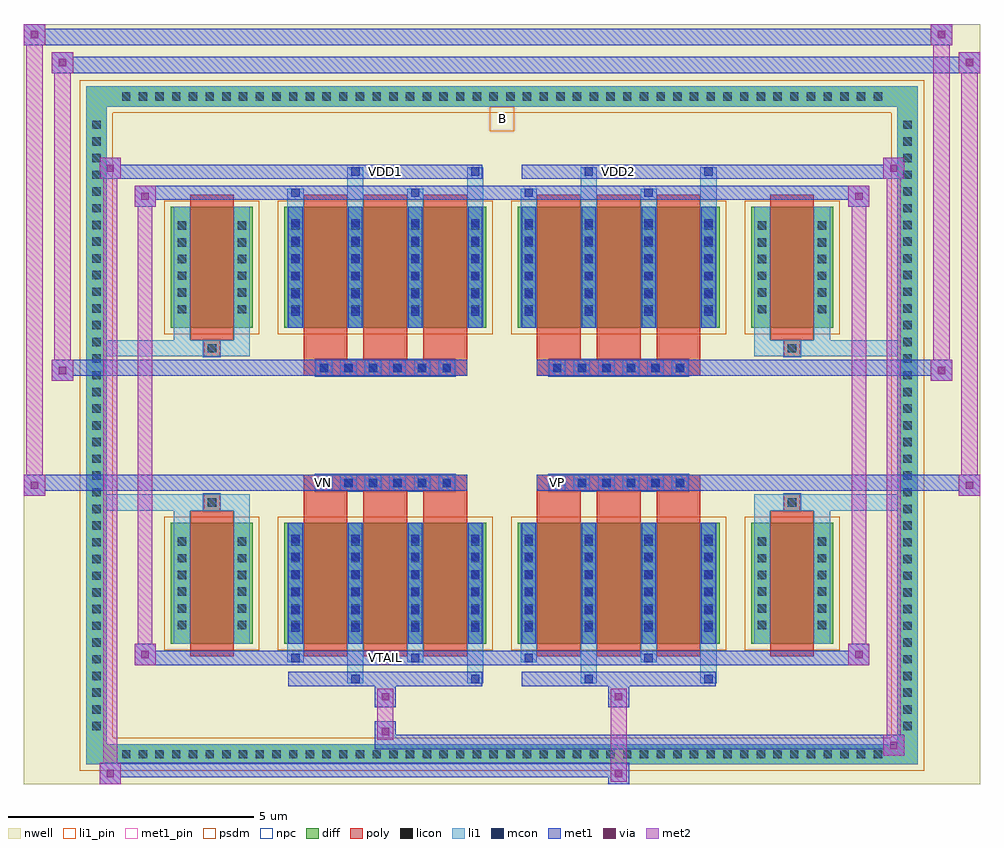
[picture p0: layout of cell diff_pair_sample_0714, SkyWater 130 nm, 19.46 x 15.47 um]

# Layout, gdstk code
import gdstk
lib = gdstk.Library(unit=1e-6, precision=5e-09)
def R(c, l, rs):  # rectangles x0, y0, x1, y1
    for r in rs: c.add(gdstk.rectangle(r[:2], r[2:], *l))
def A(c, l, x, y, w, h, nx, ny, dx, dy):  # array of equal rectangles
    R(c, l, [(x+i*dx, y+j*dy, x+i*dx+w, y+j*dy+h) for i in range(nx) for j in range(ny)])
def P(c, l, *ps):  # polygons
    for p in ps: c.add(gdstk.Polygon(p, *l))
nwell = (64, 20)
diff = (65, 20)
poly = (66, 20)
licon = (66, 44)
li1_pin = (67, 16)
li1 = (67, 20)
mcon = (67, 44)
met1_pin = (68, 16)
met1 = (68, 20)
via = (68, 44)
met2 = (69, 20)
psdm = (94, 20)
npc = (95, 20)

diff_pair_sample_0714 = lib.new_cell('diff_pair_sample_0714')
R(diff_pair_sample_0714, nwell, [(-9.73,-7.3,9.73,8.17), (-7.05,-5.49,-0.01,-0.805), (0.01,-5.49,7.05,-0.805), (-7.05,0.805,-0.01,5.49), (0.01,0.805,7.05,5.49)])
A(diff_pair_sample_0714, diff, -7.855, -6.9, 0.41, 0.41, 46, 2, 0.34, 13.39)
A(diff_pair_sample_0714, diff, -8.46, -6.325, 0.41, 0.41, 1, 37, 0, 0.34)
A(diff_pair_sample_0714, diff, 8.05, -6.325, 0.41, 0.41, 1, 37, 0, 0.34)
R(diff_pair_sample_0714, diff, [(-7.855,-6.9,7.855,-6.49), (-8.46,-6.325,-8.05,6.325), (8.05,-6.325,8.46,6.325), (-6.74,-4.445,-5.07,-1.985), (-4.43,-4.445,-0.32,-1.985), (0.32,-4.445,4.43,-1.985), (5.07,-4.445,6.74,-1.985), (-6.74,1.985,-5.07,4.445), (-4.43,1.985,-0.32,4.445), (0.32,1.985,4.43,4.445), (5.07,1.985,6.74,4.445), (-7.855,6.49,7.855,6.9)])
P(diff_pair_sample_0714, diff, [(8.46,6.9),(-8.46,6.9),(-8.46,-6.49),(-8.05,-6.49),(-8.05,6.49),(8.05,6.49),(8.05,-6.49),(-8.05,-6.49),(-8.46,-6.49),(-8.46,-6.9),(8.46,-6.9)])
A(diff_pair_sample_0714, poly, -4.04, -4.695, 0.89, 2.96, 3, 2, 1.22, 6.43)
A(diff_pair_sample_0714, poly, 0.71, -4.695, 0.89, 2.96, 3, 2, 1.22, 6.43)
A(diff_pair_sample_0714, poly, -4.04, -1.735, 0.89, 0.4, 3, 2, 1.22, 3.07)
A(diff_pair_sample_0714, poly, 0.71, -1.735, 0.89, 0.4, 3, 2, 1.22, 3.07)
A(diff_pair_sample_0714, poly, -3.79, -1.335, 0.33, 0.33, 6, 2, 0.5, 2.34)
A(diff_pair_sample_0714, poly, 0.96, -1.335, 0.33, 0.33, 6, 2, 0.5, 2.34)
R(diff_pair_sample_0714, poly, [(-6.35,-4.695,-5.46,-1.735), (5.46,-4.695,6.35,-1.735), (-6.07,-1.735,-5.74,-1.405), (-6.07,-1.735,-5.74,-1.405), (5.74,-1.735,6.07,-1.405), (5.74,-1.735,6.07,-1.405), (-4.04,-1.335,-0.71,-1.005), (0.71,-1.335,4.04,-1.005), (-4.04,1.005,-0.71,1.335), (0.71,1.005,4.04,1.335), (-6.07,1.405,-5.74,1.735), (-6.07,1.405,-5.74,1.735), (5.74,1.405,6.07,1.735), (5.74,1.405,6.07,1.735), (-6.35,1.735,-5.46,4.695), (5.46,1.735,6.35,4.695)])
A(diff_pair_sample_0714, licon, -7.735, -6.78, 0.17, 0.17, 46, 2, 0.34, 13.39)
A(diff_pair_sample_0714, licon, -8.34, -6.205, 0.17, 0.17, 1, 37, 0, 0.34)
A(diff_pair_sample_0714, licon, 8.17, -6.205, 0.17, 0.17, 1, 37, 0, 0.34)
A(diff_pair_sample_0714, licon, -6.6, -4.15, 0.17, 0.17, 1, 6, 0, 0.34)
A(diff_pair_sample_0714, licon, -5.38, -4.15, 0.17, 0.17, 1, 6, 0, 0.34)
A(diff_pair_sample_0714, licon, -4.29, -4.15, 0.17, 0.17, 4, 6, 1.22, 0.34)
A(diff_pair_sample_0714, licon, 0.46, -4.15, 0.17, 0.17, 4, 6, 1.22, 0.34)
A(diff_pair_sample_0714, licon, 5.21, -4.15, 0.17, 0.17, 1, 6, 0, 0.34)
A(diff_pair_sample_0714, licon, 6.43, -4.15, 0.17, 0.17, 1, 6, 0, 0.34)
A(diff_pair_sample_0714, licon, -3.71, -1.255, 0.17, 0.17, 6, 2, 0.5, 2.34)
A(diff_pair_sample_0714, licon, 1.04, -1.255, 0.17, 0.17, 6, 2, 0.5, 2.34)
A(diff_pair_sample_0714, licon, -6.6, 2.28, 0.17, 0.17, 1, 6, 0, 0.34)
A(diff_pair_sample_0714, licon, -5.38, 2.28, 0.17, 0.17, 1, 6, 0, 0.34)
A(diff_pair_sample_0714, licon, -4.29, 2.28, 0.17, 0.17, 4, 6, 1.22, 0.34)
A(diff_pair_sample_0714, licon, 0.46, 2.28, 0.17, 0.17, 4, 6, 1.22, 0.34)
A(diff_pair_sample_0714, licon, 5.21, 2.28, 0.17, 0.17, 1, 6, 0, 0.34)
A(diff_pair_sample_0714, licon, 6.43, 2.28, 0.17, 0.17, 1, 6, 0, 0.34)
R(diff_pair_sample_0714, licon, [(-5.99,-1.655,-5.82,-1.485), (5.82,-1.655,5.99,-1.485), (-5.99,1.485,-5.82,1.655), (5.82,1.485,5.99,1.655)])
R(diff_pair_sample_0714, li1_pin, [(-0.25,5.99,0.25,6.49)])
A(diff_pair_sample_0714, li1, -7.815, -6.86, 0.33, 0.33, 46, 2, 0.34, 13.39)
A(diff_pair_sample_0714, li1, -8.42, -6.285, 0.33, 0.33, 1, 37, 0, 0.34)
A(diff_pair_sample_0714, li1, 8.09, -6.285, 0.33, 0.33, 1, 37, 0, 0.34)
A(diff_pair_sample_0714, li1, -4.37, -4.445, 0.33, 2.46, 4, 2, 1.22, 6.43)
A(diff_pair_sample_0714, li1, 0.38, -4.445, 0.33, 2.46, 4, 2, 1.22, 6.43)
A(diff_pair_sample_0714, li1, -6.68, -4.23, 0.33, 0.33, 1, 6, 0, 0.34)
A(diff_pair_sample_0714, li1, -5.46, -4.23, 0.33, 0.33, 1, 6, 0, 0.34)
A(diff_pair_sample_0714, li1, -4.37, -4.23, 0.33, 0.33, 4, 6, 1.22, 0.34)
A(diff_pair_sample_0714, li1, 0.38, -4.23, 0.33, 0.33, 4, 6, 1.22, 0.34)
A(diff_pair_sample_0714, li1, 5.13, -4.23, 0.33, 0.33, 1, 6, 0, 0.34)
A(diff_pair_sample_0714, li1, 6.35, -4.23, 0.33, 0.33, 1, 6, 0, 0.34)
A(diff_pair_sample_0714, li1, -4.29, -4.2, 0.17, 0.17, 4, 6, 1.22, 0.36)
A(diff_pair_sample_0714, li1, -4.29, -4.2, 0.17, 1.97, 4, 2, 1.22, 6.43)
A(diff_pair_sample_0714, li1, 0.46, -4.2, 0.17, 0.17, 4, 6, 1.22, 0.36)
A(diff_pair_sample_0714, li1, 0.46, -4.2, 0.17, 1.97, 4, 2, 1.22, 6.43)
A(diff_pair_sample_0714, li1, -3.79, -1.335, 0.33, 0.33, 6, 2, 0.5, 2.34)
A(diff_pair_sample_0714, li1, 0.96, -1.335, 0.33, 0.33, 6, 2, 0.5, 2.34)
A(diff_pair_sample_0714, li1, -6.68, 2.2, 0.33, 0.33, 1, 6, 0, 0.34)
A(diff_pair_sample_0714, li1, -5.46, 2.2, 0.33, 0.33, 1, 6, 0, 0.34)
A(diff_pair_sample_0714, li1, -4.37, 2.2, 0.33, 0.33, 4, 6, 1.22, 0.34)
A(diff_pair_sample_0714, li1, 0.38, 2.2, 0.33, 0.33, 4, 6, 1.22, 0.34)
A(diff_pair_sample_0714, li1, 5.13, 2.2, 0.33, 0.33, 1, 6, 0, 0.34)
A(diff_pair_sample_0714, li1, 6.35, 2.2, 0.33, 0.33, 1, 6, 0, 0.34)
A(diff_pair_sample_0714, li1, -4.29, 2.23, 0.17, 0.17, 4, 6, 1.22, 0.36)
A(diff_pair_sample_0714, li1, 0.46, 2.23, 0.17, 0.17, 4, 6, 1.22, 0.36)
R(diff_pair_sample_0714, li1, [(-8.46,-6.9,-8.05,-6.49), (-8.46,-6.9,-8.05,-6.49), (-8.05,-6.9,8.05,-6.49), (8.05,-6.9,8.46,-6.49), (8.05,-6.9,8.46,-6.49), (-8.46,-6.49,-8.05,6.49), (8.05,-6.49,8.46,6.49), (-3.15,-5.25,-2.82,-4.445), (-3.07,-5.25,-2.9,-5.08), (-0.71,-5.25,-0.38,-4.445), (-0.63,-5.25,-0.46,-5.08), (1.6,-5.25,1.93,-4.445), (1.68,-5.25,1.85,-5.08), (4.04,-5.25,4.37,-4.445), (4.12,-5.25,4.29,-5.08), (-4.37,-4.82,-4.04,-4.445), (-4.29,-4.82,-4.12,-4.65), (-1.93,-4.82,-1.6,-4.445), (-1.85,-4.82,-1.68,-4.65), (0.38,-4.82,0.71,-4.445), (0.46,-4.82,0.63,-4.65), (2.82,-4.82,3.15,-4.445), (2.9,-4.82,3.07,-4.65), (-6.68,-4.445,-6.35,-1.985), (-5.46,-4.445,-5.13,-1.985), (5.13,-4.445,5.46,-1.985), (6.35,-4.445,6.68,-1.985), (-6.68,-1.985,-6.35,-1.405), (-5.46,-1.985,-5.13,-1.405), (5.13,-1.985,5.46,-1.405), (6.35,-1.985,6.68,-1.405), (-8.46,-1.735,-6.07,-1.405), (-6.68,-1.735,-6.07,-1.405), (-6.07,-1.735,-5.74,-1.405), (-5.74,-1.735,-5.13,-1.405), (5.13,-1.735,5.74,-1.405), (5.74,-1.735,6.07,-1.405), (5.74,-1.735,8.46,-1.405), (6.07,-1.735,6.68,-1.405), (-8.46,1.405,-6.07,1.735), (-6.68,1.405,-6.07,1.735), (-6.68,1.405,-6.35,1.985), (-6.07,1.405,-5.74,1.735), (-5.74,1.405,-5.13,1.735), (-5.46,1.405,-5.13,1.985), (5.13,1.405,5.74,1.735), (5.13,1.405,5.46,1.985), (5.74,1.405,6.07,1.735), (5.74,1.405,8.46,1.735), (6.07,1.405,6.68,1.735), (6.35,1.405,6.68,1.985), (-6.68,1.985,-6.35,4.445), (-5.46,1.985,-5.13,4.445), (5.13,1.985,5.46,4.445), (6.35,1.985,6.68,4.445), (-4.37,4.445,-4.04,4.82), (-3.15,4.445,-2.82,5.25), (-1.93,4.445,-1.6,4.82), (-0.71,4.445,-0.38,5.25), (0.38,4.445,0.71,4.82), (1.6,4.445,1.93,5.25), (2.82,4.445,3.15,4.82), (4.04,4.445,4.37,5.25), (-4.29,4.65,-4.12,4.82), (-1.85,4.65,-1.68,4.82), (0.46,4.65,0.63,4.82), (2.9,4.65,3.07,4.82), (-3.07,5.08,-2.9,5.25), (-0.63,5.08,-0.46,5.25), (1.68,5.08,1.85,5.25), (4.12,5.08,4.29,5.25), (-8.46,6.49,-8.05,6.9), (-8.46,6.49,-8.05,6.9), (-8.05,6.49,8.05,6.9), (8.05,6.49,8.46,6.9), (8.05,6.49,8.46,6.9)])
A(diff_pair_sample_0714, mcon, -4.29, -4.2, 0.17, 0.17, 4, 6, 1.22, 0.36)
A(diff_pair_sample_0714, mcon, 0.46, -4.2, 0.17, 0.17, 4, 6, 1.22, 0.36)
A(diff_pair_sample_0714, mcon, -3.71, -1.255, 0.17, 0.17, 6, 2, 0.5, 2.34)
A(diff_pair_sample_0714, mcon, 1.04, -1.255, 0.17, 0.17, 6, 2, 0.5, 2.34)
A(diff_pair_sample_0714, mcon, -4.29, 2.23, 0.17, 0.17, 4, 6, 1.22, 0.36)
A(diff_pair_sample_0714, mcon, 0.46, 2.23, 0.17, 0.17, 4, 6, 1.22, 0.36)
R(diff_pair_sample_0714, mcon, [(-3.07,-5.25,-2.9,-5.08), (-0.63,-5.25,-0.46,-5.08), (1.68,-5.25,1.85,-5.08), (4.12,-5.25,4.29,-5.08), (-4.29,-4.82,-4.12,-4.65), (-1.85,-4.82,-1.68,-4.65), (0.46,-4.82,0.63,-4.65), (2.9,-4.82,3.07,-4.65), (-4.29,4.65,-4.12,4.82), (-1.85,4.65,-1.68,4.82), (0.46,4.65,0.63,4.82), (2.9,4.65,3.07,4.82), (-3.07,5.08,-2.9,5.25), (-0.63,5.08,-0.46,5.25), (1.68,5.08,1.85,5.25), (4.12,5.08,4.29,5.25)])
R(diff_pair_sample_0714, met1_pin, [(-2.51,-4.86,-2.24,-4.59), (-3.76,-1.295,-3.49,-1.025), (0.99,-1.295,1.26,-1.025), (-2.51,5.04,-2.24,5.31), (2.24,5.04,2.51,5.31)])
A(diff_pair_sample_0714, met1, -4.35, -4.445, 0.29, 2.46, 4, 2, 1.22, 6.43)
A(diff_pair_sample_0714, met1, 0.4, -4.445, 0.29, 2.46, 4, 2, 1.22, 6.43)
A(diff_pair_sample_0714, met1, -4.35, -4.26, 0.29, 0.29, 4, 6, 1.22, 0.36)
A(diff_pair_sample_0714, met1, 0.4, -4.26, 0.29, 0.29, 4, 6, 1.22, 0.36)
A(diff_pair_sample_0714, met1, -3.77, -1.315, 0.29, 0.29, 6, 2, 0.5, 2.34)
A(diff_pair_sample_0714, met1, 0.98, -1.315, 0.29, 0.29, 6, 2, 0.5, 2.34)
A(diff_pair_sample_0714, met1, -4.35, 2.17, 0.29, 0.29, 4, 6, 1.22, 0.36)
A(diff_pair_sample_0714, met1, 0.4, 2.17, 0.29, 0.29, 4, 6, 1.22, 0.36)
R(diff_pair_sample_0714, met1, [(-8.19,-7.3,-7.76,-6.87), (2.16,-7.3,2.59,-6.87), (-8.19,-7.16,2.59,-6.87), (7.76,-6.73,8.19,-6.3), (-2.59,-6.59,8.19,-6.3), (-2.59,-6.45,-2.16,-6.02), (-2.59,-5.74,-2.16,-5.31), (2.16,-5.74,2.59,-5.31), (-4.35,-5.31,-0.4,-5.02), (-3.13,-5.31,-2.84,-5.02), (-0.69,-5.31,-0.4,-5.02), (0.4,-5.31,4.35,-5.02), (1.62,-5.31,1.91,-5.02), (4.06,-5.31,4.35,-5.02), (-7.48,-4.88,-7.05,-4.45), (-7.48,-4.88,-4.35,-4.59), (-4.35,-4.88,-4.06,-4.59), (-4.35,-4.88,-0.4,-4.59), (-1.91,-4.88,-1.62,-4.59), (-0.4,-4.88,0.4,-4.59), (0.4,-4.88,0.69,-4.59), (0.4,-4.88,4.35,-4.59), (2.84,-4.88,3.13,-4.59), (4.35,-4.88,7.48,-4.59), (7.05,-4.88,7.48,-4.45), (-9.73,-1.435,-9.3,-1.005), (9.3,-1.435,9.73,-1.005), (-9.73,-1.335,-0.71,-1.005), (-4.04,-1.335,-0.71,-1.005), (0.71,-1.335,4.04,-1.005), (0.71,-1.335,9.73,-1.005), (-9.16,0.905,-8.73,1.335), (8.73,0.905,9.16,1.335), (-9.16,1.005,-4.04,1.335), (-4.04,1.005,-0.71,1.335), (0.71,1.005,4.04,1.335), (4.04,1.005,9.16,1.335), (-7.48,4.45,-7.05,4.88), (7.05,4.45,7.48,4.88), (-7.48,4.59,-4.35,4.88), (-4.35,4.59,-4.06,4.88), (-4.35,4.59,-0.4,4.88), (-1.91,4.59,-1.62,4.88), (-0.4,4.59,0.4,4.88), (0.4,4.59,0.69,4.88), (0.4,4.59,4.35,4.88), (2.84,4.59,3.13,4.88), (4.35,4.59,7.48,4.88), (-8.19,5.02,-7.76,5.45), (-8.19,5.02,-4.35,5.31), (-4.35,5.02,-0.4,5.31), (-3.13,5.02,-2.84,5.31), (-0.69,5.02,-0.4,5.31), (0.4,5.02,4.35,5.31), (1.62,5.02,1.91,5.31), (4.06,5.02,4.35,5.31), (4.35,5.02,8.19,5.31), (7.76,5.02,8.19,5.45), (-9.16,7.17,-8.73,7.6), (-9.16,7.17,-7.05,7.5), (-7.05,7.17,7.05,7.5), (7.05,7.17,9.73,7.5), (9.3,7.17,9.73,7.6), (-9.73,7.74,-9.3,8.17), (-9.73,7.74,-7.05,8.07), (-7.05,7.74,7.05,8.07), (7.05,7.74,9.16,8.07), (8.73,7.74,9.16,8.17)])
R(diff_pair_sample_0714, via, [(-8.05,-7.16,-7.9,-7.01), (2.3,-7.16,2.45,-7.01), (7.9,-6.59,8.05,-6.44), (-2.45,-6.31,-2.3,-6.16), (-2.45,-5.6,-2.3,-5.45), (2.3,-5.6,2.45,-5.45), (-7.34,-4.74,-7.19,-4.59), (7.19,-4.74,7.34,-4.59), (-9.59,-1.295,-9.44,-1.145), (9.44,-1.295,9.59,-1.145), (-9.02,1.045,-8.87,1.195), (8.87,1.045,9.02,1.195), (-7.34,4.59,-7.19,4.74), (7.19,4.59,7.34,4.74), (-8.05,5.16,-7.9,5.31), (7.9,5.16,8.05,5.31), (-9.02,7.31,-8.87,7.46), (9.44,7.31,9.59,7.46), (-9.59,7.88,-9.44,8.03), (8.87,7.88,9.02,8.03)])
R(diff_pair_sample_0714, met2, [(-8.19,-7.3,-7.76,-6.87), (-8.12,-7.3,-7.83,5.45), (-7.83,-7.3,-7.76,-6.87), (-8.14,-7.25,-7.81,-6.92), (2.21,-7.25,2.54,-6.92), (2.21,-6.92,2.54,-5.69), (7.76,-6.73,8.19,-6.3), (7.83,-6.73,8.12,5.45), (8.12,-6.73,8.19,-6.3), (7.81,-6.68,8.14,-6.35), (-2.54,-6.4,-2.21,-6.07), (-2.54,-6.07,-2.21,-5.69), (-2.54,-5.69,-2.21,-5.36), (2.21,-5.69,2.54,-5.36), (-7.48,-4.88,-7.05,-4.45), (-7.41,-4.88,-7.12,4.88), (-7.12,-4.88,-7.05,-4.45), (7.05,-4.88,7.48,-4.45), (7.12,-4.88,7.41,4.88), (7.41,-4.88,7.48,-4.45), (-7.43,-4.83,-7.1,-4.5), (7.1,-4.83,7.43,-4.5), (-9.73,-1.435,-9.3,-1.005), (-9.68,-1.435,-9.35,8.17), (-9.35,-1.435,-9.3,-1.005), (9.3,-1.435,9.73,-1.005), (9.35,-1.435,9.68,7.6), (9.68,-1.435,9.73,-1.005), (-9.68,-1.385,-9.35,-1.055), (9.35,-1.385,9.68,-1.055), (-9.16,0.905,-8.73,1.335), (-9.11,0.905,-8.78,7.6), (-8.78,0.905,-8.73,1.335), (8.73,0.905,9.16,1.335), (8.78,0.905,9.11,8.17), (9.11,0.905,9.16,1.335), (-9.11,0.955,-8.78,1.285), (8.78,0.955,9.11,1.285), (-7.48,4.45,-7.05,4.88), (-7.12,4.45,-7.05,4.88), (7.05,4.45,7.48,4.88), (7.41,4.45,7.48,4.88), (-7.43,4.5,-7.1,4.83), (7.1,4.5,7.43,4.83), (-8.19,5.02,-7.76,5.45), (-7.83,5.02,-7.76,5.45), (7.76,5.02,8.19,5.45), (8.12,5.02,8.19,5.45), (-8.14,5.07,-7.81,5.4), (7.81,5.07,8.14,5.4), (-9.16,7.17,-8.73,7.6), (-8.78,7.17,-8.73,7.6), (9.3,7.17,9.73,7.6), (9.68,7.17,9.73,7.6), (-9.11,7.22,-8.78,7.55), (9.35,7.22,9.68,7.55), (-9.73,7.74,-9.3,8.17), (-9.35,7.74,-9.3,8.17), (8.73,7.74,9.16,8.17), (9.11,7.74,9.16,8.17), (-9.68,7.79,-9.35,8.12), (8.78,7.79,9.11,8.12)])
R(diff_pair_sample_0714, psdm, [(-6.87,-4.575,-4.94,-1.855), (-4.56,-4.575,-0.19,-1.855), (0.19,-4.575,4.56,-1.855), (4.94,-4.575,6.87,-1.855), (-6.87,1.855,-4.94,4.575), (-4.56,1.855,-0.19,4.575), (0.19,1.855,4.56,4.575), (4.94,1.855,6.87,4.575)])
P(diff_pair_sample_0714, psdm, [(8.59,7.03),(-8.59,7.03),(-8.59,-6.36),(-7.92,-6.36),(-7.92,6.36),(7.92,6.36),(7.92,-6.36),(-7.92,-6.36),(-8.59,-6.36),(-8.59,-7.03),(8.59,-7.03)])
A(diff_pair_sample_0714, npc, -3.81, -1.355, 0.37, 0.37, 6, 2, 0.5, 2.34)
A(diff_pair_sample_0714, npc, 0.94, -1.355, 0.37, 0.37, 6, 2, 0.5, 2.34)
R(diff_pair_sample_0714, npc, [(-6.09,-1.755,-5.72,-1.385), (5.72,-1.755,6.09,-1.385), (-3.81,-1.355,-2.94,-0.985), (-3.81,-1.355,-2.94,-0.985), (-3.31,-1.355,-2.44,-0.985), (-3.31,-1.355,-2.44,-0.985), (-2.81,-1.355,-1.94,-0.985), (-2.81,-1.355,-1.94,-0.985), (-2.31,-1.355,-1.44,-0.985), (-2.31,-1.355,-1.44,-0.985), (-1.81,-1.355,-0.94,-0.985), (-1.81,-1.355,-0.94,-0.985), (0.94,-1.355,1.81,-0.985), (0.94,-1.355,1.81,-0.985), (1.44,-1.355,2.31,-0.985), (1.44,-1.355,2.31,-0.985), (1.94,-1.355,2.81,-0.985), (1.94,-1.355,2.81,-0.985), (2.44,-1.355,3.31,-0.985), (2.44,-1.355,3.31,-0.985), (2.94,-1.355,3.81,-0.985), (2.94,-1.355,3.81,-0.985), (-3.81,0.985,-2.94,1.355), (-3.81,0.985,-2.94,1.355), (-3.31,0.985,-2.44,1.355), (-3.31,0.985,-2.44,1.355), (-2.81,0.985,-1.94,1.355), (-2.81,0.985,-1.94,1.355), (-2.31,0.985,-1.44,1.355), (-2.31,0.985,-1.44,1.355), (-1.81,0.985,-0.94,1.355), (-1.81,0.985,-0.94,1.355), (0.94,0.985,1.81,1.355), (0.94,0.985,1.81,1.355), (1.44,0.985,2.31,1.355), (1.44,0.985,2.31,1.355), (1.94,0.985,2.81,1.355), (1.94,0.985,2.81,1.355), (2.44,0.985,3.31,1.355), (2.44,0.985,3.31,1.355), (2.94,0.985,3.81,1.355), (2.94,0.985,3.81,1.355), (-6.09,1.385,-5.72,1.755), (5.72,1.385,6.09,1.755)])
diff_pair_sample_0714.add(gdstk.Label('VTAIL', (-2.375,-4.725), layer=68, texttype=5))
diff_pair_sample_0714.add(gdstk.Label('VN', (-3.625,-1.16), layer=68, texttype=5))
diff_pair_sample_0714.add(gdstk.Label('VP', (1.125,-1.16), layer=68, texttype=5))
diff_pair_sample_0714.add(gdstk.Label('B', (0,6.24), layer=67, texttype=5))
diff_pair_sample_0714.add(gdstk.Label('VDD2', (2.375,5.175), layer=68, texttype=5))
diff_pair_sample_0714.add(gdstk.Label('VDD1', (-2.375,5.175), layer=68, texttype=5))

lib.write_gds('diff_pair_sample_0714.gds')
